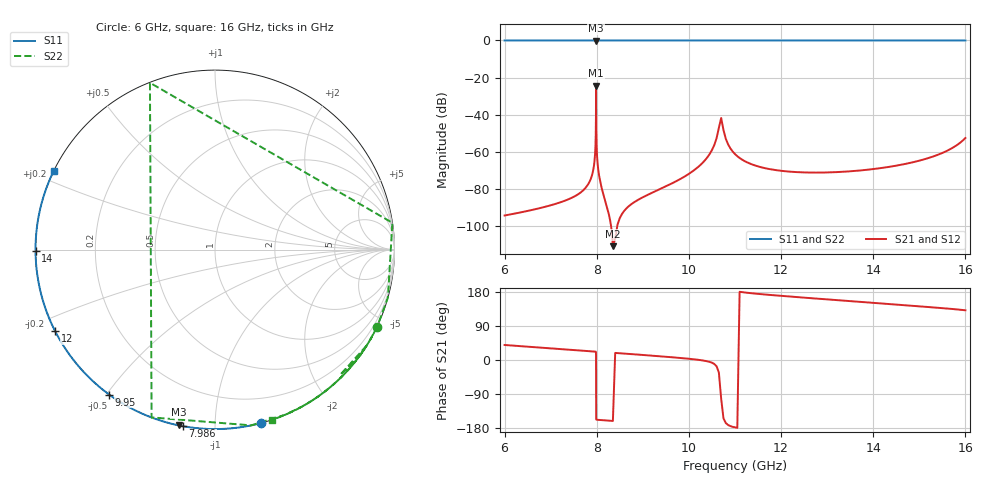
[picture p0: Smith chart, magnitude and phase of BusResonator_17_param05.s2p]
! Sonnet Data File
! From: emgraph Version : 16.54
! From Project: BusResonator_17
! Data is De-embedded
! Data File Written: 08/31/2017 18:33:07
!< HDATE 08/31/2017 16:58:22
!< MDATE 08/31/2017 17:03:00
!< PARAMS
!< BusLengthControl = 2100.0
!< END PARAMS
# GHZ S MA R 50.00000
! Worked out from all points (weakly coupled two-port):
!   798 points, 6 GHz to 16 GHz, reference 50 ohm
!   highest |S21| = -24.30 dB at 7.984 GHz (marker M1); lowest = -110.6 dB at 8.35 GHz (marker M2)
!   lowest |S11| = 0.0 dB at 7.984 GHz (marker M3), VSWR 633.52, Z = 0.131 - j40.7 ohm
!   |S11| at or under -10 dB: nowhere
!   |S22| runs from -0.1 to 0.0 dB; largest |S21 - S12| = 0
!   S11 on the Smith chart (normalised r, x): 6 GHz: 0.00, -1.30; 7.986 GHz: 0.00, -0.83; 9.95 GHz: 0.00, -0.51; 12 GHz: 0.00, -0.24; 14 GHz: 0.00, -0.00; 16 GHz: 0.00, +0.23
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6  1 -75.0  1.971e-05 39.6  1.971e-05 39.6  1 -25.7
!< P1 F=6.0 Eeff=(6.44857038 -2.9736e-5) Z0=(51.7893065 1.19468e-4) R=0.05083541 C=0.00240605
!< P2 F=6.0 Eeff=(6.44857038 -2.9736e-5) Z0=(51.7893065 1.19468e-4) R=0.05083541 C=0.00240605
7.7  1 -96.8  9.223e-05 24.9  9.223e-05 24.9  1 -33.4
7.8  1 -98.1  0.0001284 24.0  0.0001284 24.0  1 -33.8
7.92302  1 -99.7  0.0003264 22.9  0.0003264 22.9  1 -34.4
7.964741  1 -100.3  0.0009527 22.5  0.0009527 22.5  1 -34.7
7.983965  0.9968 -101.7  0.06097 13.1  0.06097 13.1  0.9869 -45.0
7.985653  0.9999 -100.3  0.01276 -155.6  0.01276 -155.6  0.9994 -32.5
7.995003  1 -100.6  0.001631 -157.4  0.001631 -157.4  1 -34.4
8.013404  1 -100.9  0.0005783 -157.7  0.0005783 -157.7  1 -34.7
8.1  1 -102.0  0.0001164 -158.6  0.0001164 -158.6  1 -35.2
8.35  1 -105.2  2.954e-06 -160.7  2.954e-06 -160.7  1 -36.4
9.35  1 -118.2  9.814e-05 10.0  9.814e-05 10.0  1 -41.7
9.95  1 -126.1  0.0002375 3.8  0.0002375 3.8  1 -46.3
10.5  1 -133.3  0.001132 -7.1  0.001132 -7.1  1 -61.0
10.65  1 -135.3  0.004493 -33.0  0.004493 -33.0  0.9993 -110.7
10.85  1 -137.9  0.001611 -171.5  0.001611 -171.5  0.9999 -25.1
11  1 -139.9  0.0008823 -177.8  0.0008823 -177.8  1 -35.8
12  1 -153.1  0.0003136 169.3  0.0003136 169.3  1 -48.3
12.7  1 -162.3  0.0002807 162.7  0.0002807 162.7  1 -52.3
14  1 -179.6  0.000349 150.8  0.000349 150.8  1 -58.8
14.35  1 175.8  0.0004012 147.6  0.0004012 147.6  1 -60.5
16  1 153.9  0.002391 131.1  0.002391 131.1  1 -71.7
